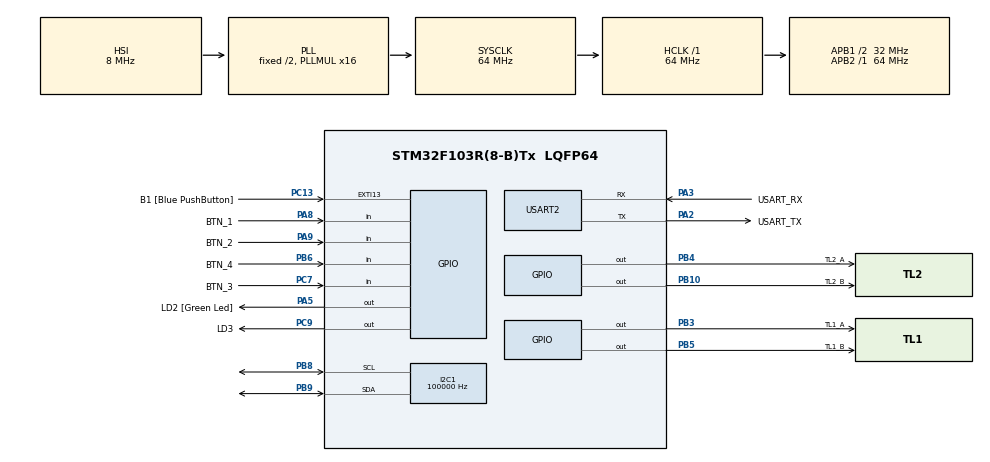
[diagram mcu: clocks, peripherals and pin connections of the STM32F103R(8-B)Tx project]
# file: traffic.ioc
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I2C1.ClockSpeed=100000
I2C1.I2C_Mode=I2C_Standard
Mcu.Family=STM32F1
Mcu.Name=STM32F103R(8-B)Tx
Mcu.Package=LQFP64
NVIC.EXTI15_10_IRQn=true\:2\:0\:false\:false\:true\:true\:true
NVIC.PriorityGroup=NVIC_PRIORITYGROUP_4
NVIC.TIM2_IRQn=true\:1\:0\:false\:false\:true\:true\:true
PA13.GPIO_Label=TMS
PA13.Mode=Serial_Wire
PA13.Signal=SYS_JTMS-SWDIO
PA14.GPIO_Label=TCK
PA14.Mode=Serial_Wire
PA14.Signal=SYS_JTCK-SWCLK
PA2.GPIO_Label=USART_TX
PA2.GPIO_Mode=GPIO_MODE_AF_PP
PA2.GPIO_PuPd=GPIO_NOPULL
PA2.GPIO_Speed=GPIO_SPEED_FREQ_LOW
PA2.Mode=Asynchronous
PA2.Signal=USART2_TX
PA3.GPIO_Label=USART_RX
PA3.GPIO_Mode=GPIO_MODE_AF_PP
PA3.GPIO_PuPd=GPIO_NOPULL
PA3.GPIO_Speed=GPIO_SPEED_FREQ_LOW
PA3.Mode=Asynchronous
PA3.Signal=USART2_RX
PA5.GPIO_Label=LD2 [Green Led]
PA5.GPIO_ModeDefaultOutputPP=GPIO_MODE_OUTPUT_PP
PA5.GPIO_PuPd=GPIO_NOPULL
PA5.GPIO_Speed=GPIO_SPEED_FREQ_LOW
PA5.Signal=GPIO_Output
PA8.GPIO_Label=BTN_1
PA8.GPIO_PuPd=GPIO_PULLUP
PA8.Signal=GPIO_Input
PA9.GPIO_Label=BTN_2
PA9.GPIO_PuPd=GPIO_PULLUP
PA9.Signal=GPIO_Input
PB10.GPIO_Label=TL2_B
PB10.PinState=GPIO_PIN_RESET
PB10.Signal=GPIO_Output
PB3.GPIO_Label=TL1_A
PB3.PinState=GPIO_PIN_RESET
PB3.Signal=GPIO_Output
PB4.GPIO_Label=TL2_A
PB4.PinState=GPIO_PIN_RESET
PB4.Signal=GPIO_Output
PB5.GPIO_Label=TL1_B
PB5.PinState=GPIO_PIN_RESET
PB5.Signal=GPIO_Output
PB6.GPIO_Label=BTN_4
PB6.GPIO_PuPd=GPIO_PULLUP
PB6.Signal=GPIO_Input
PB8.Mode=I2C
PB8.Signal=I2C1_SCL
PB9.Mode=I2C
PB9.Signal=I2C1_SDA
PC13-TAMPER-RTC.GPIO_Label=B1 [Blue PushButton]
PC13-TAMPER-RTC.GPIO_PuPd=GPIO_NOPULL
PC13-TAMPER-RTC.Signal=GPXTI13
PC14-OSC32_IN.Mode=LSE-External-Oscillator
PC14-OSC32_IN.Signal=RCC_OSC32_IN
PC15-OSC32_OUT.Mode=LSE-External-Oscillator
PC15-OSC32_OUT.Signal=RCC_OSC32_OUT
PC7.GPIO_Label=BTN_3
PC7.GPIO_PuPd=GPIO_PULLUP
PC7.Signal=GPIO_Input
PC9.GPIO_Label=LD3
PC9.PinState=GPIO_PIN_RESET
PC9.Signal=GPIO_Output
PD0-OSC_IN.Mode=HSE-External-Clock-Source
PD0-OSC_IN.Signal=RCC_OSC_IN
PD1-OSC_OUT.Mode=HSE-External-Clock-Source
PD1-OSC_OUT.Signal=RCC_OSC_OUT
ProjectManager.HeapSize=0x200
ProjectManager.StackSize=0x400
ProjectManager.TargetToolchain=STM32CubeIDE
RCC.AHBFreq_Value=64000000
RCC.APB1CLKDivider=RCC_HCLK_DIV2
RCC.APB1Freq_Value=32000000
RCC.APB1TimFreq_Value=64000000
RCC.APB2Freq_Value=64000000
RCC.APB2TimFreq_Value=64000000
RCC.HCLKFreq_Value=64000000
RCC.PLLMUL=RCC_PLL_MUL16
RCC.RTCClockSelection=RCC_RTCCLKSOURCE_LSE
RCC.SYSCLKFreq_VALUE=64000000
RCC.SYSCLKSource=RCC_SYSCLKSOURCE_PLLCLK
RCC.USBFreq_Value=64000000
TIM2.Period=99
TIM2.Prescaler=6399
USART2.VirtualMode=VM_ASYNC
VP_TIM2_VS_ClockSourceINT.Mode=Internal
board=NUCLEO-F103RB

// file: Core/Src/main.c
/* USER CODE BEGIN Header */
/**
  ******************************************************************************
  * @file           : main.c
  * @brief          : Main program body
  ******************************************************************************
  * @attention
  *
  * <h2><center>&copy; Copyright (c) 2026 STMicroelectronics.
  * All rights reserved.</center></h2>
  *
  * This software component is licensed by ST under BSD 3-Clause license,
  * the "License"; You may not use this file except in compliance with the
  * License. You may obtain a copy of the License at:
  *                        opensource.org/licenses/BSD-3-Clause
  *
  ******************************************************************************
  */
/* USER CODE END Header */
#include "main.h"

/* USER CODE BEGIN Includes */
#include <stdbool.h>
#include "scheduler.h"
#include "software_timer.h"
#include "peripheral_stm32.h"
#include "button.h"
#include "traffic_light.h"
#include "dht20.h"
#include "lcd.h"
#include "display.h"
#include "global.h"
#include "app_control.h"
/* USER CODE END Includes */

/* USER CODE BEGIN PD */
/*
 * Quick hardware mapping constants (adjust after Step 3 kit check if needed):
 * - BUTTON_ACTIVE_HIGH: false = active-LOW buttons with internal GPIO_PULLUP
 * - LIGHT_CODE_*: 2-bit truth table ((Signal_A << 1) | Signal_B) for each color
 * - LCD_FALLBACK_ADDR: used if auto-scan does not detect an LCD at startup
 */
#define BUTTON_ACTIVE_HIGH  false
#define LIGHT_CODE_RED      3U
#define LIGHT_CODE_GREEN    2U
#define LIGHT_CODE_AMBER    1U
#define LCD_FALLBACK_ADDR   LCD_OHSTEM_ADDRESS
/* USER CODE END PD */

I2C_HandleTypeDef hi2c1;
TIM_HandleTypeDef htim2;
UART_HandleTypeDef huart2;

void SystemClock_Config(void);
static void MX_GPIO_Init(void);
static void MX_USART2_UART_Init(void);
static void MX_I2C1_Init(void);
static void MX_TIM2_Init(void);

/* USER CODE BEGIN 0 */
static app_event_t app_read_button_event(uint8_t id)
{
    switch (button_take_event(id)) {
    case BUTTON_PRESS: return APP_EVENT_PRESS;
    case BUTTON_LONG:  return APP_EVENT_LONG;
    case BUTTON_NONE:
    default:           return APP_EVENT_NONE;
    }
}

static light_t app_to_driver_light(app_light_t light)
{
    switch (light) {
    case APP_GREEN: return LIGHT_GREEN;
    case APP_AMBER: return LIGHT_AMBER;
    case APP_RED:
    default:        return LIGHT_RED;
    }
}

static bool app_apply_lights(app_light_t road1, app_light_t road2)
{
    return traffic_apply_pair(app_to_driver_light(road1), app_to_driver_light(road2));
}

static display_view_t app_read_display_view(void)
{
    app_snapshot_t snap = app_get_snapshot();
    display_view_t view = {0};

    switch (snap.mode) {
    case APP_MANUAL: view.mode = DISPLAY_MANUAL; break;
    case APP_TUNING: view.mode = DISPLAY_TUNING; break;
    case APP_AUTO:
    default:         view.mode = DISPLAY_AUTO;   break;
    }

    switch (snap.phase) {
    case PHASE_P0: view.phase = DISPLAY_ROAD1_GREEN; break;
    case PHASE_P1: view.phase = DISPLAY_ROAD1_AMBER; break;
    case PHASE_P2: view.phase = DISPLAY_ROAD2_GREEN; break;
    case PHASE_P3: view.phase = DISPLAY_ROAD2_AMBER; break;
    case PHASE_ALL_RED:
    default:       view.phase = DISPLAY_ALL_RED;     break;
    }

    view.remaining_s = (uint16_t)((snap.phase_remaining_ms + 999U) / 1000U);

    switch (snap.selected) {
    case PARAM_GREEN:
        view.tuning_field = 'G';
        view.tuning_value_s = snap.draft.green_s;
        break;
    case PARAM_AMBER:
        view.tuning_field = 'Y';
        view.tuning_value_s = snap.draft.amber_s;
        break;
    case PARAM_RED:
    default:
        view.tuning_field = 'R';
        view.tuning_value_s = snap.draft.red_s;
        break;
    }

    switch (snap.tuning_status) {
    case TUNING_SAVED:   view.tuning_status = DISPLAY_SAVED;   break;
    case TUNING_INVALID: view.tuning_status = DISPLAY_INVALID; break;
    case TUNING_EDITING:
    default:             view.tuning_status = DISPLAY_EDITING; break;
    }

    return view;
}

static void heartbeat_task(void)
{
    HAL_GPIO_TogglePin(LD2_GPIO_Port, LD2_Pin);
}

static void system_setup_and_schedule(void)
{
    static const peripheral_pin_t button_pins[BUTTON_COUNT] = {
        {BTN_1_GPIO_Port, BTN_1_Pin},
        {BTN_2_GPIO_Port, BTN_2_Pin},
        {BTN_3_GPIO_Port, BTN_3_Pin},
        {BTN_4_GPIO_Port, BTN_4_Pin}
    };
    static const bool button_polarity[BUTTON_COUNT] = {
        BUTTON_ACTIVE_HIGH, BUTTON_ACTIVE_HIGH, BUTTON_ACTIVE_HIGH, BUTTON_ACTIVE_HIGH
    };
    static const peripheral_pin_t light_pins[4] = {
        {TL1_A_GPIO_Port, TL1_A_Pin},
        {TL1_B_GPIO_Port, TL1_B_Pin},
        {TL2_A_GPIO_Port, TL2_A_Pin},
        {TL2_B_GPIO_Port, TL2_B_Pin}
    };
    static const traffic_codes_t light_codes[2] = {
        {.red = LIGHT_CODE_RED, .amber = LIGHT_CODE_AMBER, .green = LIGHT_CODE_GREEN},
        {.red = LIGHT_CODE_RED, .amber = LIGHT_CODE_AMBER, .green = LIGHT_CODE_GREEN}
    };
    static const app_services_t services = {
        .button_take_event = app_read_button_event,
        .timer_start = timer_start,
        .timer_cancel = timer_cancel,
        .timer_take_expired = timer_take_expired,
        .traffic_apply_pair = app_apply_lights,
        .traffic_all_red = traffic_all_red,
        .timer_remaining_ms = timer_remaining_ms
    };

    peripheral_i2c_t i2c_bus = peripheral_stm32_i2c(&hi2c1);
    uint8_t lcd_addr = peripheral_stm32_scan_lcd(&hi2c1, LCD_FALLBACK_ADDR);

    SCH_Init();
    timer_init();

    (void)peripheral_stm32_bind_buttons(button_pins, button_polarity);
    (void)peripheral_stm32_bind_lights(light_pins, light_codes);
    traffic_all_red();

    (void)dht20_init(&i2c_bus);
    (void)lcd_configure(&i2c_bus, lcd_addr);
    (void)display_init(app_read_display_view);
    (void)app_control_init(&services);

    /* Register scheduled tasks in contract order (1 tick = 10 ms) */
    (void)SCH_Add_Task(timer_tick, 1U, 1U);       /* 10 ms: software timers */
    (void)SCH_Add_Task(button_sample, 1U, 1U);    /* 10 ms: button debounce */
    (void)SCH_Add_Task(app_control_run, 1U, 1U);  /* 10 ms: active mode FSM */
    (void)SCH_Add_Task(dht20_task, 1U, 1U);       /* 10 ms: non-blocking DHT20 */
    (void)SCH_Add_Task(display_task, 1U, 20U);    /* 200 ms: LCD 16x2 update */
    (void)SCH_Add_Task(heartbeat_task, 1U, 50U);  /* 500 ms: onboard LD2 blink */
}
/* USER CODE END 0 */

int main(void)
{

  /* MCU Configuration--------------------------------------------------------*/

  /* Reset of all peripherals, Initializes the Flash interface and the Systick. */
  HAL_Init();

  /* Configure the system clock */
  SystemClock_Config();

  /* Initialize all configured peripherals */
  MX_GPIO_Init();
  MX_USART2_UART_Init();
  MX_I2C1_Init();
  MX_TIM2_Init();
  /* USER CODE BEGIN 2 */
  system_setup_and_schedule();

  __HAL_TIM_CLEAR_FLAG(&htim2, TIM_FLAG_UPDATE);
  (void)HAL_TIM_Base_Start_IT(&htim2);
  /* USER CODE END 2 */

  /* Infinite loop */
  /* USER CODE BEGIN WHILE */
  while (1)
  {
    SCH_Dispatch_Tasks();
    /* USER CODE END WHILE */

  }
}

void SystemClock_Config(void)
{
  RCC_OscInitTypeDef RCC_OscInitStruct = {0};
  RCC_ClkInitTypeDef RCC_ClkInitStruct = {0};

  /** Initializes the RCC Oscillators according to the specified parameters
  * in the RCC_OscInitTypeDef structure.
  */
  RCC_OscInitStruct.OscillatorType = RCC_OSCILLATORTYPE_HSI;
  RCC_OscInitStruct.HSIState = RCC_HSI_ON;
  RCC_OscInitStruct.HSICalibrationValue = RCC_HSICALIBRATION_DEFAULT;
  RCC_OscInitStruct.PLL.PLLState = RCC_PLL_ON;
  RCC_OscInitStruct.PLL.PLLSource = RCC_PLLSOURCE_HSI_DIV2;
  RCC_OscInitStruct.PLL.PLLMUL = RCC_PLL_MUL16;
  if (HAL_RCC_OscConfig(&RCC_OscInitStruct) != HAL_OK)
  {
    Error_Handler();
  }
  /** Initializes the CPU, AHB and APB buses clocks
  */
  RCC_ClkInitStruct.ClockType = RCC_CLOCKTYPE_HCLK|RCC_CLOCKTYPE_SYSCLK
                              |RCC_CLOCKTYPE_PCLK1|RCC_CLOCKTYPE_PCLK2;
  RCC_ClkInitStruct.SYSCLKSource = RCC_SYSCLKSOURCE_PLLCLK;
  RCC_ClkInitStruct.AHBCLKDivider = RCC_SYSCLK_DIV1;
  RCC_ClkInitStruct.APB1CLKDivider = RCC_HCLK_DIV2;
  RCC_ClkInitStruct.APB2CLKDivider = RCC_HCLK_DIV1;

  if (HAL_RCC_ClockConfig(&RCC_ClkInitStruct, FLASH_LATENCY_2) != HAL_OK)
  {
    Error_Handler();
  }
}

static void MX_GPIO_Init(void)
{
  GPIO_InitTypeDef GPIO_InitStruct = {0};

  /* GPIO Ports Clock Enable */
  __HAL_RCC_GPIOC_CLK_ENABLE();
  __HAL_RCC_GPIOD_CLK_ENABLE();
  __HAL_RCC_GPIOA_CLK_ENABLE();
  __HAL_RCC_GPIOB_CLK_ENABLE();

  /*Configure GPIO pin Output Level */
  HAL_GPIO_WritePin(LD2_GPIO_Port, LD2_Pin, GPIO_PIN_RESET);
  HAL_GPIO_WritePin(LD3_GPIO_Port, LD3_Pin, GPIO_PIN_RESET);
  HAL_GPIO_WritePin(GPIOB, TL1_A_Pin | TL1_B_Pin | TL2_A_Pin | TL2_B_Pin,
                    GPIO_PIN_RESET);

  /*Configure GPIO pin : B1_Pin */
  GPIO_InitStruct.Pin = B1_Pin;
  GPIO_InitStruct.Mode = GPIO_MODE_IT_RISING;
  GPIO_InitStruct.Pull = GPIO_NOPULL;
  HAL_GPIO_Init(B1_GPIO_Port, &GPIO_InitStruct);

  /*Configure GPIO pins : LD2_Pin LD3_Pin TL1_A/B TL2_A/B */
  GPIO_InitStruct.Pin = LD2_Pin;
  GPIO_InitStruct.Mode = GPIO_MODE_OUTPUT_PP;
  GPIO_InitStruct.Pull = GPIO_NOPULL;
  GPIO_InitStruct.Speed = GPIO_SPEED_FREQ_LOW;
  HAL_GPIO_Init(LD2_GPIO_Port, &GPIO_InitStruct);

  GPIO_InitStruct.Pin = LD3_Pin;
  HAL_GPIO_Init(LD3_GPIO_Port, &GPIO_InitStruct);

  GPIO_InitStruct.Pin = TL1_A_Pin | TL1_B_Pin | TL2_A_Pin | TL2_B_Pin;
  HAL_GPIO_Init(GPIOB, &GPIO_InitStruct);

  /*Configure GPIO pins : BTN_1_Pin BTN_2_Pin BTN_3_Pin BTN_4_Pin */
  GPIO_InitStruct.Mode = GPIO_MODE_INPUT;
  GPIO_InitStruct.Pull = GPIO_PULLUP;
  GPIO_InitStruct.Pin = BTN_1_Pin | BTN_2_Pin;
  HAL_GPIO_Init(GPIOA, &GPIO_InitStruct);
  GPIO_InitStruct.Pin = BTN_3_Pin;
  HAL_GPIO_Init(BTN_3_GPIO_Port, &GPIO_InitStruct);
  GPIO_InitStruct.Pin = BTN_4_Pin;
  HAL_GPIO_Init(BTN_4_GPIO_Port, &GPIO_InitStruct);

  /* EXTI interrupt init*/
  HAL_NVIC_SetPriority(EXTI15_10_IRQn, 2, 0);
  HAL_NVIC_EnableIRQ(EXTI15_10_IRQn);
}

static void MX_I2C1_Init(void)
{
  hi2c1.Instance = I2C1;
  hi2c1.Init.ClockSpeed = 100000;
  hi2c1.Init.DutyCycle = I2C_DUTYCYCLE_2;
  hi2c1.Init.OwnAddress1 = 0;
  hi2c1.Init.AddressingMode = I2C_ADDRESSINGMODE_7BIT;
  hi2c1.Init.DualAddressMode = I2C_DUALADDRESS_DISABLE;
  hi2c1.Init.OwnAddress2 = 0;
  hi2c1.Init.GeneralCallMode = I2C_GENERALCALL_DISABLE;
  hi2c1.Init.NoStretchMode = I2C_NOSTRETCH_DISABLE;
  if (HAL_I2C_Init(&hi2c1) != HAL_OK)
  {
    Error_Handler();
  }
}

static void MX_TIM2_Init(void)
{
  TIM_ClockConfigTypeDef clock = {0};
  TIM_MasterConfigTypeDef master = {0};

  htim2.Instance = TIM2;
  /* APB1 timer clock is 64 MHz. (6399 + 1) * (99 + 1) / 64 MHz = 10 ms. */
  htim2.Init.Prescaler = 6399;
  htim2.Init.Period = 99;
  htim2.Init.CounterMode = TIM_COUNTERMODE_UP;
  htim2.Init.ClockDivision = TIM_CLOCKDIVISION_DIV1;
  htim2.Init.AutoReloadPreload = TIM_AUTORELOAD_PRELOAD_DISABLE;
  if (HAL_TIM_Base_Init(&htim2) != HAL_OK)
  {
    Error_Handler();
  }

  clock.ClockSource = TIM_CLOCKSOURCE_INTERNAL;
  master.MasterOutputTrigger = TIM_TRGO_RESET;
  master.MasterSlaveMode = TIM_MASTERSLAVEMODE_DISABLE;
  if (HAL_TIM_ConfigClockSource(&htim2, &clock) != HAL_OK ||
      HAL_TIMEx_MasterConfigSynchronization(&htim2, &master) != HAL_OK)
  {
    Error_Handler();
  }
}

static void MX_USART2_UART_Init(void)
{

  huart2.Instance = USART2;
  huart2.Init.BaudRate = 115200;
  huart2.Init.WordLength = UART_WORDLENGTH_8B;
  huart2.Init.StopBits = UART_STOPBITS_1;
  huart2.Init.Parity = UART_PARITY_NONE;
  huart2.Init.Mode = UART_MODE_TX_RX;
  huart2.Init.HwFlowCtl = UART_HWCONTROL_NONE;
  huart2.Init.OverSampling = UART_OVERSAMPLING_16;
  if (HAL_UART_Init(&huart2) != HAL_OK)
  {
    Error_Handler();
  }

}

/* USER CODE BEGIN 4 */
void HAL_TIM_PeriodElapsedCallback(TIM_HandleTypeDef *htim)
{
  if (htim->Instance == TIM2)
  {
    SCH_Update();
  }
}
/* USER CODE END 4 */

void Error_Handler(void)
{
  __disable_irq();
  while (1)
  {
  }
}

/************************ (C) COPYRIGHT STMicroelectronics *****END OF FILE****/
